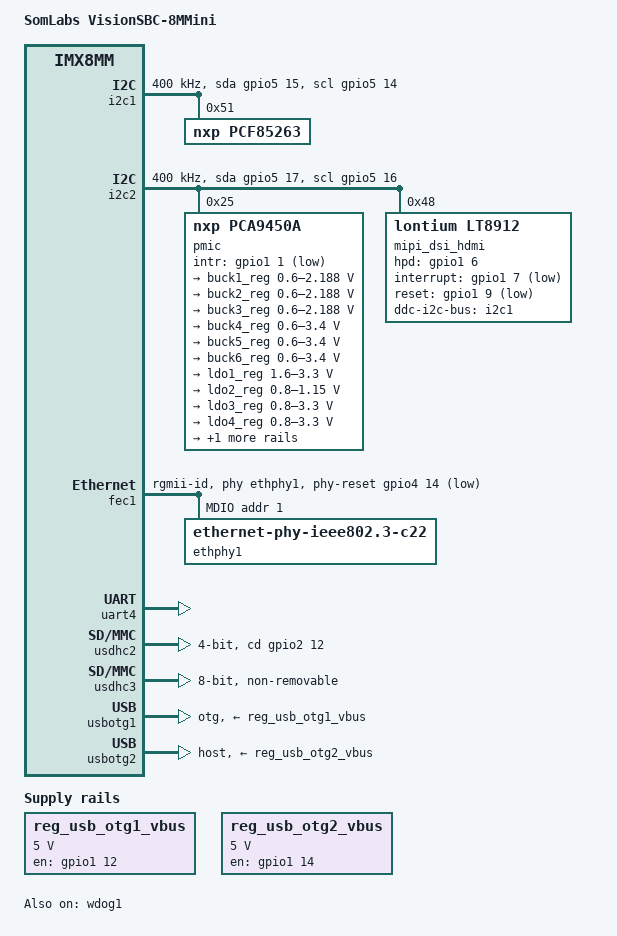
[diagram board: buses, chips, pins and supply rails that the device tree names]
// SPDX-License-Identifier: GPL-2.0+ OR MIT
/*
 * Copyright 2020 Somlabs
 */

/dts-v1/;

#include "imx8mm.dtsi"

/ {
    model = "SomLabs VisionSBC-8MMini";
    compatible = "somlabs,visionsbc-8mmini", "fsl,imx8mm";

    chosen {
        bootargs = "console=ttymxc3,115200 earlycon=ec_imx6q,0x30a60000,115200";
        stdout-path = &uart4;
    };

    firmware {
        optee {
            compatible = "linaro,optee-tz";
            method = "smc";
        };
    };

    reg_usb_otg1_vbus: regulator-otg1 {
        compatible = "regulator-fixed";
        pinctrl-names = "default";
        pinctrl-0 = <&pinctrl_usb_otg1>;
        regulator-name = "usb_otg1_vbus";
        regulator-min-microvolt = <5000000>;
        regulator-max-microvolt = <5000000>;
        gpio = <&gpio1 12 GPIO_ACTIVE_HIGH>;
        enable-active-high;
    };

    reg_usb_otg2_vbus: regulator-otg2 {
        compatible = "regulator-fixed";
        pinctrl-names = "default";
        pinctrl-0 = <&pinctrl_usb_otg2>;
        regulator-name = "usb_otg2_vbus";
        regulator-min-microvolt = <5000000>;
        regulator-max-microvolt = <5000000>;
        gpio = <&gpio1 14 GPIO_ACTIVE_HIGH>;
        enable-active-high;
    };

	dsi_host: dsi-host {
		compatible = "samsung,sec-mipi-dsi";
		status = "okay";
	};

};

&i2c1 {
    clock-frequency = <400000>;
    pinctrl-names = "default", "gpio";
    pinctrl-0 = <&pinctrl_i2c1>;
    pinctrl-1 = <&pinctrl_i2c1_gpio>;
    scl-gpios = <&gpio5 14 GPIO_ACTIVE_HIGH>;
    sda-gpios = <&gpio5 15 GPIO_ACTIVE_HIGH>;
    status = "okay";

    pcf85263@51 {
        compatible = "nxp,pcf85263";
        reg = <0x51>;
    };

};

&i2c2 {
    clock-frequency = <400000>;
    pinctrl-names = "default", "gpio";
    pinctrl-0 = <&pinctrl_i2c2>;
    pinctrl-1 = <&pinctrl_i2c2_gpio>;
    scl-gpios = <&gpio5 16 GPIO_ACTIVE_HIGH>;
    sda-gpios = <&gpio5 17 GPIO_ACTIVE_HIGH>;
    status = "okay";

    pmic: pca9450@25 {
        reg = <0x25>;
        compatible = "nxp,pca9450a";
        /* PMIC PCA9450 PMIC_nINT GPIO1_IO1 */
        pinctrl-0 = <&pinctrl_pmic>;
        gpio_intr = <&gpio1 1 GPIO_ACTIVE_LOW>;

        regulators {
            #address-cells = <1>;
            #size-cells = <0>;

            pca9450,pmic-buck2-uses-i2c-dvs;
            /* Run/Standby voltage */
            pca9450,pmic-buck2-dvs-voltage = <950000>, <850000>;

            buck1_reg: regulator@0 {
                reg = <0>;
                regulator-compatible = "buck1";
                regulator-min-microvolt = <600000>;
                regulator-max-microvolt = <2187500>;
                regulator-boot-on;
                regulator-always-on;
                regulator-ramp-delay = <3125>;
            };

            buck2_reg: regulator@1 {
                reg = <1>;
                regulator-compatible = "buck2";
                regulator-min-microvolt = <600000>;
                regulator-max-microvolt = <2187500>;
                regulator-boot-on;
                regulator-always-on;
                regulator-ramp-delay = <3125>;
            };

            buck3_reg: regulator@2 {
                reg = <2>;
                regulator-compatible = "buck3";
                regulator-min-microvolt = <600000>;
                regulator-max-microvolt = <2187500>;
                regulator-boot-on;
                regulator-always-on;
            };

            buck4_reg: regulator@3 {
                reg = <3>;
                regulator-compatible = "buck4";
                regulator-min-microvolt = <600000>;
                regulator-max-microvolt = <3400000>;
                regulator-boot-on;
                regulator-always-on;
            };

            buck5_reg: regulator@4 {
                reg = <4>;
                regulator-compatible = "buck5";
                regulator-min-microvolt = <600000>;
                regulator-max-microvolt = <3400000>;
                regulator-boot-on;
                regulator-always-on;
            };

            buck6_reg: regulator@5 {
                reg = <5>;
                regulator-compatible = "buck6";
                regulator-min-microvolt = <600000>;
                regulator-max-microvolt = <3400000>;
                regulator-boot-on;
                regulator-always-on;
            };

            ldo1_reg: regulator@6 {
                reg = <6>;
                regulator-compatible = "ldo1";
                regulator-min-microvolt = <1600000>;
                regulator-max-microvolt = <3300000>;
                regulator-boot-on;
                regulator-always-on;
            };

            ldo2_reg: regulator@7 {
                reg = <7>;
                regulator-compatible = "ldo2";
                regulator-min-microvolt = <800000>;
                regulator-max-microvolt = <1150000>;
                regulator-boot-on;
                regulator-always-on;
            };

            ldo3_reg: regulator@8 {
                reg = <8>;
                regulator-compatible = "ldo3";
                regulator-min-microvolt = <800000>;
                regulator-max-microvolt = <3300000>;
                regulator-boot-on;
                regulator-always-on;
            };

            ldo4_reg: regulator@9 {
                reg = <9>;
                regulator-compatible = "ldo4";
                regulator-min-microvolt = <800000>;
                regulator-max-microvolt = <3300000>;
                regulator-boot-on;
                regulator-always-on;
            };

            ldo5_reg: regulator@10 {
                reg = <10>;
                regulator-compatible = "ldo5";
                regulator-min-microvolt = <1800000>;
                regulator-max-microvolt = <3300000>;
            };
        };
    };

    /* MIPI-DSI to HDMI adapter */
    mipi_dsi_hdmi: lt8912@48 {
        compatible = "lontium,lt8912";
        reg = <0x48>;
        ddc-i2c-bus = <&i2c1>;
        status = "okay";
        pinctrl-names = "default";
        pinctrl-0 = <&pinctrl_mipi2hdmi>;
        hpd-gpios = <&gpio1 6 GPIO_ACTIVE_HIGH>;
        interrupt-gpios = <&gpio1 7 GPIO_ACTIVE_LOW>;
        reset-gpios = <&gpio1 9 GPIO_ACTIVE_LOW>;

        // port {
        //     lt8912_1_in: endpoint {
        //         remote-endpoint = <&mipi_dsi_bridge1_out>;
        //     };
        // };
    };

};

&fec1 {
    pinctrl-names = "default";
    pinctrl-0 = <&pinctrl_fec1>;
    phy-mode = "rgmii-id";
    phy-handle = <&ethphy1>;
    phy-reset-gpios = <&gpio4 14 GPIO_ACTIVE_LOW>; /* GPIO4_14 */
    phy-reset-duration = <10>;
    phy-reset-post-delay = <50>;
    phy-int-gpios = <&gpio5 6 GPIO_ACTIVE_LOW>; /* GPIO5_6 */
    fsl,magic-packet;
    status = "okay";

    mdio {
		#address-cells = <1>;
		#size-cells = <0>;

        ethphy1: ethernet-phy@1 {
            compatible = "ethernet-phy-ieee802.3-c22";
            reg = <1>;
        };
    };
};

&uart4 { /* console */
    pinctrl-names = "default";
    pinctrl-0 = <&pinctrl_uart4>;
    status = "okay";
};

&usdhc2 {
    pinctrl-names = "default", "state_100mhz", "state_200mhz";
    pinctrl-0 = <&pinctrl_usdhc2>;
    pinctrl-1 = <&pinctrl_usdhc2_100mhz>;
    pinctrl-2 = <&pinctrl_usdhc2_200mhz>;
    cd-gpios = <&gpio2 12 GPIO_ACTIVE_HIGH>;
    bus-width = <4>;
    no-1-8-v;           //todo: PMIC allows to control SD card voltage, add support for this in software/dts
    status = "okay";
};

&usdhc3 {
    pinctrl-names = "default", "state_100mhz", "state_200mhz";
    pinctrl-0 = <&pinctrl_usdhc3>;
    pinctrl-1 = <&pinctrl_usdhc3_100mhz>;
    pinctrl-2 = <&pinctrl_usdhc3_200mhz>;
    bus-width = <8>;
    non-removable;
    status = "okay";
};

&wdog1 {
    pinctrl-names = "default";
    pinctrl-0 = <&pinctrl_wdog>;
    fsl,ext-reset-output;
    status = "okay";
};

&A53_0 {
    //arm-supply = <&buck2_reg>;
};

&usbotg1 {
    status = "okay";
    dr_mode = "otg";
    vbus-supply = <&reg_usb_otg1_vbus>;
};

&usbotg2 {
    status = "okay";
    dr_mode = "host";
    vbus-supply = <&reg_usb_otg2_vbus>;
};

&iomuxc {
    pinctrl_usb_otg1: usbotg1 {
        fsl,pins = <
            MX8MM_IOMUXC_GPIO1_IO12_GPIO1_IO12          0x19
            MX8MM_IOMUXC_GPIO1_IO13_GPIO1_IO13          0x1c4
        >;
    };

    pinctrl_usb_otg2: usbotg2 {
        fsl,pins = <
            MX8MM_IOMUXC_GPIO1_IO14_GPIO1_IO14          0x19
            MX8MM_IOMUXC_GPIO1_IO15_GPIO1_IO15          0x1c4
        >;
    };

    pinctrl_fec1: fec1grp {
        fsl,pins = <
            MX8MM_IOMUXC_ENET_MDC_ENET1_MDC		        0x3
            MX8MM_IOMUXC_ENET_MDIO_ENET1_MDIO	        0x3
            MX8MM_IOMUXC_ENET_TD3_ENET1_RGMII_TD3	    0x1f
            MX8MM_IOMUXC_ENET_TD2_ENET1_RGMII_TD2	    0x1f
            MX8MM_IOMUXC_ENET_TD1_ENET1_RGMII_TD1	    0x1f
            MX8MM_IOMUXC_ENET_TD0_ENET1_RGMII_TD0	    0x1f
            MX8MM_IOMUXC_ENET_RD3_ENET1_RGMII_RD3	    0x91
            MX8MM_IOMUXC_ENET_RD2_ENET1_RGMII_RD2	    0x91
            MX8MM_IOMUXC_ENET_RD1_ENET1_RGMII_RD1	    0x91
            MX8MM_IOMUXC_ENET_RD0_ENET1_RGMII_RD0	    0x91
            MX8MM_IOMUXC_ENET_TXC_ENET1_RGMII_TXC	    0x1f
            MX8MM_IOMUXC_ENET_RXC_ENET1_RGMII_RXC	    0x91
            MX8MM_IOMUXC_ENET_RX_CTL_ENET1_RGMII_RX_CTL	0x91
            MX8MM_IOMUXC_ENET_TX_CTL_ENET1_RGMII_TX_CTL	0x1f
            MX8MM_IOMUXC_SAI1_TXD2_GPIO4_IO14           0x16   /* phy reset */
            MX8MM_IOMUXC_ECSPI1_SCLK_GPIO5_IO6          0x80   /* phy int */
        >;
    };

    pinctrl_i2c1: i2c1grp {             /* internal I2C bus - 3V3 domain */
        fsl,pins = <

            MX8MM_IOMUXC_I2C1_SCL_I2C1_SCL              0x400000c3
            MX8MM_IOMUXC_I2C1_SDA_I2C1_SDA              0x400000c3
        >;
    };

    pinctrl_i2c1_gpio: i2c1grp-gpio {
        fsl,pins = <
            MX8MM_IOMUXC_I2C1_SCL_GPIO5_IO14            0xc3
            MX8MM_IOMUXC_I2C1_SDA_GPIO5_IO15            0xc3
        >;
    };


    pinctrl_i2c2: i2c2grp {             /* internal I2C bus - 1V8 domain */
        fsl,pins = <
            MX8MM_IOMUXC_I2C2_SCL_I2C2_SCL              0x400000c3
            MX8MM_IOMUXC_I2C2_SDA_I2C2_SDA              0x400000c3
        >;
    };

    pinctrl_i2c2_gpio: i2c2grp-gpio {
        fsl,pins = <
            MX8MM_IOMUXC_I2C2_SCL_GPIO5_IO16            0xc3
            MX8MM_IOMUXC_I2C2_SDA_GPIO5_IO17            0xc3
        >;
    };

    pinctrl_i2c3: i2c3grp {
        fsl,pins = <
            MX8MM_IOMUXC_I2C3_SCL_I2C3_SCL			    0x400000c3
            MX8MM_IOMUXC_I2C3_SDA_I2C3_SDA			    0x400000c3
        >;
    };

    pinctrl_i2c3_gpio: i2c3grp-gpio {
        fsl,pins = <
            MX8MM_IOMUXC_I2C3_SCL_GPIO5_IO18       		0xc3
            MX8MM_IOMUXC_I2C3_SDA_GPIO5_IO19        	0xc3
        >;
    };

    pinctrl_i2c4: i2c4grp {
        fsl,pins = <
            MX8MM_IOMUXC_I2C4_SCL_I2C4_SCL			    0x400000c3
            MX8MM_IOMUXC_I2C4_SDA_I2C4_SDA			    0x400000c3
        >;
    };

    pinctrl_i2c4_gpio: i2c4grp-gpio {
        fsl,pins = <
            MX8MM_IOMUXC_I2C4_SCL_GPIO5_IO20       		0xc3
            MX8MM_IOMUXC_I2C4_SDA_GPIO5_IO21        	0xc3
        >;
    };

    pinctrl_pmic: pmicirq {
        fsl,pins = <
            MX8MM_IOMUXC_GPIO1_IO01_GPIO1_IO1		    0x41
        >;
    };

    pinctrl_uart4: uart4grp {
        fsl,pins = <
            MX8MM_IOMUXC_UART4_RXD_UART4_DCE_RX	        0x49
            MX8MM_IOMUXC_UART4_TXD_UART4_DCE_TX	        0x49
        >;
    };

    pinctrl_usdhc2: usdhc2grp {             /* USDHC2 - uSD card */
        fsl,pins = <
            MX8MM_IOMUXC_SD2_CLK_USDHC2_CLK         0x90
            MX8MM_IOMUXC_SD2_CMD_USDHC2_CMD         0xd0
            MX8MM_IOMUXC_SD2_DATA0_USDHC2_DATA0     0xd0
            MX8MM_IOMUXC_SD2_DATA1_USDHC2_DATA1     0xd0
            MX8MM_IOMUXC_SD2_DATA2_USDHC2_DATA2     0xd0
            MX8MM_IOMUXC_SD2_DATA3_USDHC2_DATA3     0xd0
            MX8MM_IOMUXC_SD2_CD_B_GPIO2_IO12        0x41
        >;
    };

    pinctrl_usdhc2_100mhz: usdhc2grp100mhz {
        fsl,pins = <
            MX8MM_IOMUXC_SD2_CLK_USDHC2_CLK         0x94
            MX8MM_IOMUXC_SD2_CMD_USDHC2_CMD         0xd4
            MX8MM_IOMUXC_SD2_DATA0_USDHC2_DATA0     0xd4
            MX8MM_IOMUXC_SD2_DATA1_USDHC2_DATA1     0xd4
            MX8MM_IOMUXC_SD2_DATA2_USDHC2_DATA2     0xd4
            MX8MM_IOMUXC_SD2_DATA3_USDHC2_DATA3     0xd4
            MX8MM_IOMUXC_SD2_CD_B_GPIO2_IO12        0x41
        >;
    };

    pinctrl_usdhc2_200mhz: usdhc2grp200mhz {
        fsl,pins = <
            MX8MM_IOMUXC_SD2_CLK_USDHC2_CLK         0x96
            MX8MM_IOMUXC_SD2_CMD_USDHC2_CMD         0xd6
            MX8MM_IOMUXC_SD2_DATA0_USDHC2_DATA0     0xd6
            MX8MM_IOMUXC_SD2_DATA1_USDHC2_DATA1     0xd6
            MX8MM_IOMUXC_SD2_DATA2_USDHC2_DATA2     0xd6
            MX8MM_IOMUXC_SD2_DATA3_USDHC2_DATA3     0xd6
            MX8MM_IOMUXC_SD2_CD_B_GPIO2_IO12        0x41
        >;
    };

    pinctrl_usdhc3: usdhc3grp {             /* USDHC3 - eMMC memory */
        fsl,pins = <
            MX8MM_IOMUXC_NAND_WE_B_USDHC3_CLK		    0x190
            MX8MM_IOMUXC_NAND_WP_B_USDHC3_CMD		    0x1d0
            MX8MM_IOMUXC_NAND_DATA04_USDHC3_DATA0		0x1d0
            MX8MM_IOMUXC_NAND_DATA05_USDHC3_DATA1		0x1d0
            MX8MM_IOMUXC_NAND_DATA06_USDHC3_DATA2		0x1d0
            MX8MM_IOMUXC_NAND_DATA07_USDHC3_DATA3		0x1d0
            MX8MM_IOMUXC_NAND_RE_B_USDHC3_DATA4		    0x1d0
            MX8MM_IOMUXC_NAND_CE2_B_USDHC3_DATA5		0x1d0
            MX8MM_IOMUXC_NAND_CE3_B_USDHC3_DATA6		0x1d0
            MX8MM_IOMUXC_NAND_CLE_USDHC3_DATA7		    0x1d0
            MX8MM_IOMUXC_NAND_CE1_B_USDHC3_STROBE 		0x190
        >;
    };

    pinctrl_usdhc3_100mhz: usdhc3grp100mhz {
        fsl,pins = <
            MX8MM_IOMUXC_NAND_WE_B_USDHC3_CLK		    0x194
            MX8MM_IOMUXC_NAND_WP_B_USDHC3_CMD		    0x1d4
            MX8MM_IOMUXC_NAND_DATA04_USDHC3_DATA0		0x1d4
            MX8MM_IOMUXC_NAND_DATA05_USDHC3_DATA1		0x1d4
            MX8MM_IOMUXC_NAND_DATA06_USDHC3_DATA2		0x1d4
            MX8MM_IOMUXC_NAND_DATA07_USDHC3_DATA3		0x1d4
            MX8MM_IOMUXC_NAND_RE_B_USDHC3_DATA4		    0x1d4
            MX8MM_IOMUXC_NAND_CE2_B_USDHC3_DATA5		0x1d4
            MX8MM_IOMUXC_NAND_CE3_B_USDHC3_DATA6		0x1d4
            MX8MM_IOMUXC_NAND_CLE_USDHC3_DATA7		    0x1d4
            MX8MM_IOMUXC_NAND_CE1_B_USDHC3_STROBE 		0x194
        >;
    };

    pinctrl_usdhc3_200mhz: usdhc3grp200mhz {
        fsl,pins = <
            MX8MM_IOMUXC_NAND_WE_B_USDHC3_CLK		    0x196
            MX8MM_IOMUXC_NAND_WP_B_USDHC3_CMD		    0x1d6
            MX8MM_IOMUXC_NAND_DATA04_USDHC3_DATA0		0x1d6
            MX8MM_IOMUXC_NAND_DATA05_USDHC3_DATA1		0x1d6
            MX8MM_IOMUXC_NAND_DATA06_USDHC3_DATA2		0x1d6
            MX8MM_IOMUXC_NAND_DATA07_USDHC3_DATA3		0x1d6
            MX8MM_IOMUXC_NAND_RE_B_USDHC3_DATA4		    0x1d6
            MX8MM_IOMUXC_NAND_CE2_B_USDHC3_DATA5		0x1d6
            MX8MM_IOMUXC_NAND_CE3_B_USDHC3_DATA6		0x1d6
            MX8MM_IOMUXC_NAND_CLE_USDHC3_DATA7		    0x1d6
            MX8MM_IOMUXC_NAND_CE1_B_USDHC3_STROBE 		0x196
        >;
    };

    pinctrl_wdog: wdoggrp {
        fsl,pins = <
            MX8MM_IOMUXC_GPIO1_IO02_WDOG1_WDOG_B		0xc6
        >;
    };

    pinctrl_mipi2hdmi: mipi2hdmi {
        fsl,pins = <
            MX8MM_IOMUXC_GPIO1_IO07_GPIO1_IO7           0x81        /* interrupt */
            MX8MM_IOMUXC_GPIO1_IO09_GPIO1_IO9           0x19        /* reset */
            MX8MM_IOMUXC_GPIO1_IO06_GPIO1_IO6           0x81        /* HPD */
        >;
    };
};
